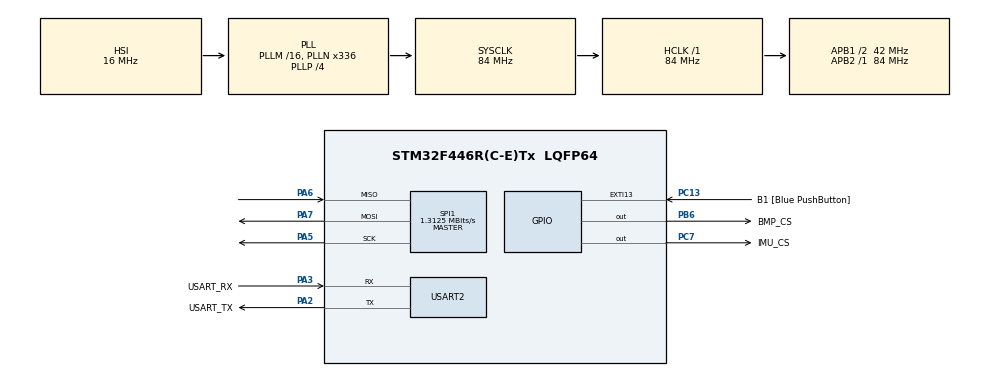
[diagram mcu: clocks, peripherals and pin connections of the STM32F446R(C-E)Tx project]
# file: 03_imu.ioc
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Mcu.Family=STM32F4
Mcu.Name=STM32F446R(C-E)Tx
Mcu.Package=LQFP64
NVIC.PriorityGroup=NVIC_PRIORITYGROUP_0
PA13.GPIO_Label=TMS
PA13.Mode=Serial_Wire
PA13.Signal=SYS_JTMS-SWDIO
PA14.GPIO_Label=TCK
PA14.Mode=Serial_Wire
PA14.Signal=SYS_JTCK-SWCLK
PA2.GPIO_Label=USART_TX
PA2.Mode=Asynchronous
PA2.Signal=USART2_TX
PA3.GPIO_Label=USART_RX
PA3.Mode=Asynchronous
PA3.Signal=USART2_RX
PA5.Mode=Full_Duplex_Master
PA5.Signal=SPI1_SCK
PA6.Mode=Full_Duplex_Master
PA6.Signal=SPI1_MISO
PA7.Mode=Full_Duplex_Master
PA7.Signal=SPI1_MOSI
PB3.GPIO_Label=SWO
PB3.Signal=SYS_JTDO-SWO
PB6.GPIO_Label=BMP_CS
PB6.Signal=GPIO_Output
PC13.GPIO_Label=B1 [Blue PushButton]
PC13.GPIO_ModeDefaultEXTI=GPIO_MODE_IT_FALLING
PC13.Signal=GPXTI13
PC14-OSC32_IN.Mode=LSE-External-Oscillator
PC14-OSC32_IN.Signal=RCC_OSC32_IN
PC15-OSC32_OUT.Mode=LSE-External-Oscillator
PC15-OSC32_OUT.Signal=RCC_OSC32_OUT
PC7.GPIO_Label=IMU_CS
PC7.Signal=GPIO_Output
PH0-OSC_IN.Mode=HSE-External-Oscillator
PH0-OSC_IN.Signal=RCC_OSC_IN
PH1-OSC_OUT.Mode=HSE-External-Oscillator
PH1-OSC_OUT.Signal=RCC_OSC_OUT
ProjectManager.HeapSize=0x200
ProjectManager.StackSize=0x400
ProjectManager.TargetToolchain=CMake
RCC.48MHZClocksFreq_Value=84000000
RCC.AHBFreq_Value=84000000
RCC.APB1CLKDivider=RCC_HCLK_DIV2
RCC.APB1Freq_Value=42000000
RCC.APB1TimFreq_Value=84000000
RCC.APB2Freq_Value=84000000
RCC.APB2TimFreq_Value=84000000
RCC.CortexFreq_Value=84000000
RCC.FLatency-AdvancedSettings=FLASH_LATENCY_2
RCC.HCLKFreq_Value=84000000
RCC.HSE_VALUE=8000000
RCC.HSI_VALUE=16000000
RCC.PLLN=336
RCC.PLLP=RCC_PLLP_DIV4
RCC.SYSCLKFreq_VALUE=84000000
RCC.SYSCLKSource=RCC_SYSCLKSOURCE_PLLCLK
RCC.USBFreq_Value=168000000
RCC.VCOOutputFreq_Value=336000000
SPI1.BaudRatePrescaler=SPI_BAUDRATEPRESCALER_64
SPI1.CLKPhase=SPI_PHASE_2EDGE
SPI1.CLKPolarity=SPI_POLARITY_HIGH
SPI1.CalculateBaudRate=1.3125 MBits/s
SPI1.Direction=SPI_DIRECTION_2LINES
SPI1.Mode=SPI_MODE_MASTER
SPI1.VirtualType=VM_MASTER
USART2.VirtualMode=VM_ASYNC
board=NUCLEO-F446RE

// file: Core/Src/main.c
/* USER CODE BEGIN Header */
/**
  ******************************************************************************
  * @file           : main.c
  * @brief          : Main program body
  ******************************************************************************
  * @attention
  *
  * Copyright (c) 2026 STMicroelectronics.
  * All rights reserved.
  *
  * This software is licensed under terms that can be found in the LICENSE file
  * in the root directory of this software component.
  * If no LICENSE file comes with this software, it is provided AS-IS.
  *
  ******************************************************************************
  */
/* USER CODE END Header */
#include "main.h"
#include "stm32f4xx_hal_conf.h"

/* USER CODE BEGIN Includes */
#include <stdio.h>
#include <math.h>
/* USER CODE END Includes */

/* USER CODE BEGIN PTD */
typedef struct {
  float w, x, y, z;
} Quaternion;
/* USER CODE END PTD */

/* USER CODE BEGIN PD */
#define ISM_WHO_AM_I  0x0F
#define ISM_CTRL1_XL  0x10 // Accelerometer Control: 0DR + full-scale
#define ISM_CTRL2_G   0x11 // Gyroscope Control: 0DR + full-scale
#define ISM_OUTX_L_G  0x22 // Gyroscope X-axis output, low byte (data block starts here)
#define ISM_OUTX_L_A  0x28 // Accelerometer X-axis output, low byte (data block starts here)
#define ACCEL_SENS_2G 0.061f // milli g's per count
#define GYRO_SENS_250DPS 8.75f // milli dps per count
#define GRAVITY 9.80665f // m/s^2
/* USER CODE END PD */

SPI_HandleTypeDef hspi1;

UART_HandleTypeDef huart2;

void SystemClock_Config(void);
static void MX_GPIO_Init(void);
static void MX_USART2_UART_Init(void);
static void MX_SPI1_Init(void);
/* USER CODE BEGIN PFP */
uint8_t IMU_ReadRegister(uint8_t reg);
void IMU_WriteRegister(uint8_t reg, uint8_t value);
void IMU_ReadRegisters(uint8_t reg, uint8_t *buffer, uint8_t len);

Quaternion quat_multiply(Quaternion a, Quaternion b);
Quaternion quat_conjugate(Quaternion q);
Quaternion quat_normalize(Quaternion q);
void quat_print(const char *label, Quaternion q);

Quaternion quat_integrate(Quaternion q, float wx, float wy, float wz, float dt); // integrate angular velocity into quaternion

void quat_rotate_vector(Quaternion q, float vx, float vy, float vz, float *rx, float *ry, float *rz);
/* USER CODE END PFP */

int main(void)
{

  /* MCU Configuration--------------------------------------------------------*/

  /* Reset of all peripherals, Initializes the Flash interface and the Systick. */
  HAL_Init();

  /* Configure the system clock */
  SystemClock_Config();

  /* Initialize all configured peripherals */
  MX_GPIO_Init();
  MX_USART2_UART_Init();
  MX_SPI1_Init();
  /* USER CODE BEGIN 2 */
  // CS rests HIGH (deselected). Overrides CubeMX's startup LOW
  HAL_GPIO_WritePin(IMU_CS_GPIO_Port, IMU_CS_Pin, GPIO_PIN_SET);

  uint8_t who_am_i = IMU_ReadRegister(ISM_WHO_AM_I);
  printf("ISM330DHCX IMU WHO_AM_I: 0x%02X (expected: 0x6B)\r\n", who_am_i);

  // Wake accelerometer: 104 Hz 0DR, +-2g
  IMU_WriteRegister(ISM_CTRL1_XL, 0x40);
  // Wake gyroscope: 104 Hz 0DR, +-250 dps
  IMU_WriteRegister(ISM_CTRL2_G, 0x40);

  // Read the control registers back to confirm the wake-up took
  printf("CTRL1_XL: 0x%02X (expected 0x40)\r\n", IMU_ReadRegister(ISM_CTRL1_XL));
  printf("CTRL2_G:  0x%02X (expected 0x40)\r\n", IMU_ReadRegister(ISM_CTRL2_G));

  //Primitive tests for quaternion functions
  printf("\r\n-- Quaternion primitive tests --\r\n");

  Quaternion identity = {1.0f, 0.0f, 0.0f, 0.0f};
  Quaternion q90z = {0.7071068f, 0.0f, 0.0f, 0.7071068f}; // 90 deg rotation about Z
  Quaternion q60x = {0.8660254f, 0.5f, 0.0f, 0.0f}; // 60 deg rotation about X

  // Test 1: anything times identity is unchnaged
  quat_print("T1 got: ", quat_multiply(q90z, identity));
  printf("T1 expected: w=0.7071  x=0.0000  y=0.0000  z=0.7071\r\n");

  // Test 2: 90 about Z twice is 180 about Z
  quat_print("T2 got: ", quat_multiply(q90z, q90z));
  printf("T2 expected: w=0.0000  x=0.0000  y=0.0000  z=1.0000\r\n");

  // Test 3: Rotate then unrotate is identity
  quat_print("T3 got: ", quat_multiply(q60x, quat_conjugate(q60x)));
  printf("T3 expected: w=1.0000  x=0.0000  y=0.0000  z=0.0000\r\n");

  // Test 4: normalize undoes scaling
  Quaternion scaled = {3.0f*0.7071068f, 0.0f, 0.0f, 3.0f*0.7071068f};
  quat_print("T4 got: ", quat_normalize(scaled));
  printf("T4 expected: w=0.7071  x=0.0000  y=0.0000  z=0.7071\r\n");

  printf("\r\n-- End Quaternion primitive tests --\r\n\r\n");

  /* USER CODE END 2 */

  /* Infinite loop */
  /* USER CODE BEGIN WHILE */
  uint8_t accel_buf[6];
  uint8_t gyro_buf[6];

  Quaternion q = {1.0f, 0.0f, 0.0f, 0.0f}; // start at identity (no rotation)
  float bx = 0.0f, by = 0.0f, bz = 0.0f; // estimated gyro bias (rad/s)
  const float DEG2RAD = 3.14159265358979323846f / 180.0f;

  const float Kp = 2.0f; // proportional gain for Mahoney filter (tubing knob)
  const float Ki = 0.01f; // integral gain
  const float TRUST_BAND = 0.10f;  // full trust within +/- this many g of 1.0
  const float TRUST_ZERO = 0.30f;  // zero trust beyond this many g from 1.0

  uint32_t last_tick = HAL_GetTick();

  while (1)
  {
    uint32_t now = HAL_GetTick();
    float dt = (now - last_tick) / 1000.0f; // convert ms to seconds
    last_tick = now;

    IMU_ReadRegisters(ISM_OUTX_L_G, gyro_buf, 6);
    IMU_ReadRegisters(ISM_OUTX_L_A, accel_buf, 6);

    int16_t ax = (int16_t)(accel_buf[1] << 8 | accel_buf[0]);
    int16_t ay = (int16_t)(accel_buf[3] << 8 | accel_buf[2]);
    int16_t az = (int16_t)(accel_buf[5] << 8 | accel_buf[4]);
    int16_t gx = (int16_t)(gyro_buf[1] << 8 | gyro_buf[0]);
    int16_t gy = (int16_t)(gyro_buf[3] << 8 | gyro_buf[2]);
    int16_t gz = (int16_t)(gyro_buf[5] << 8 | gyro_buf[4]);

    // raw -> dps -> rad/s
    float wx = gx * GYRO_SENS_250DPS / 1000.0f * DEG2RAD;
    float wy = gy * GYRO_SENS_250DPS / 1000.0f * DEG2RAD;
    float wz = gz * GYRO_SENS_250DPS / 1000.0f * DEG2RAD;

    // --- Step 2/3: accel correction ---
    // normalize the accelermoeter vector (we only care about DIRECTION)
    float an = sqrtf((float)ax*ax + (float)ay*ay + (float)az*az);
    float an_g = an * ACCEL_SENS_2G / 1000.0f;  // raw counts -> g

    float g_err = fabsf(an_g - 1.0f); //how far from pure gravity?

    // Trust factor
    float trust;
    if (g_err <= TRUST_BAND) {
      trust = 1.0f;
    } else if (g_err >= TRUST_ZERO) {
      trust = 0.0f;
    } else {
      trust = 1.0f - (g_err - TRUST_BAND) / (TRUST_ZERO - TRUST_BAND);
    }

    if (an > 1e-3f) {
      float max = ax / an, may = ay / an, maz = az / an; // measured gravity direction

      // predicted gravity in body frame = q* applied to world down (0,0,1)
      float px, py, pz;
      quat_rotate_vector(quat_conjugate(q), 0.0f, 0.0f, 1.0f, &px, &py, &pz);

      // error = measured x predicted (cross product)
      float ex = may*pz - maz*py;
      float ey = maz*px - max*pz;
      float ez = max*py - may*px;

      // Accumulate the error into bias
      bx += Ki * trust * ex * dt;
      by += Ki * trust * ey * dt;
      bz += Ki * trust * ez * dt;

      // anti-windup: real gyro bias is tiny (~a few dps). Cap it.
      const float BIAS_MAX = 0.05f;  // rad/s, ~3 dps
      if (bx > BIAS_MAX) bx = BIAS_MAX;
      if (bx < -BIAS_MAX) bx = -BIAS_MAX;
      if (by > BIAS_MAX) by = BIAS_MAX;
      if (by < -BIAS_MAX) by = -BIAS_MAX;
      if (bz > BIAS_MAX) bz = BIAS_MAX;
      if (bz < -BIAS_MAX) bz = -BIAS_MAX;

      // --- Step 4: feed error back into the gyro rate ---
      wx += Kp * trust * ex;
      wy += Kp * trust * ey;
      wz += Kp * trust * ez;
    }

    wx -= bx;
    wy -= by;
    wz -= bz;

    q = quat_integrate(q, wx, wy, wz, dt);

    //quat_print
    printf("q: %5.2f %5.2f %5.2f %5.2f | mag: %4.2fg | trust: %4.2f\r\n",
           q.w, q.x, q.y, q.z, an_g, trust);

    HAL_Delay(200); // 200 ms delay

    /* USER CODE END WHILE */

  }
}

void SystemClock_Config(void)
{
  RCC_OscInitTypeDef RCC_OscInitStruct = {0};
  RCC_ClkInitTypeDef RCC_ClkInitStruct = {0};

  /** Configure the main internal regulator output voltage
  */
  __HAL_RCC_PWR_CLK_ENABLE();
  __HAL_PWR_VOLTAGESCALING_CONFIG(PWR_REGULATOR_VOLTAGE_SCALE3);

  /** Initializes the RCC Oscillators according to the specified parameters
  * in the RCC_OscInitTypeDef structure.
  */
  RCC_OscInitStruct.OscillatorType = RCC_OSCILLATORTYPE_HSI;
  RCC_OscInitStruct.HSIState = RCC_HSI_ON;
  RCC_OscInitStruct.HSICalibrationValue = RCC_HSICALIBRATION_DEFAULT;
  RCC_OscInitStruct.PLL.PLLState = RCC_PLL_ON;
  RCC_OscInitStruct.PLL.PLLSource = RCC_PLLSOURCE_HSI;
  RCC_OscInitStruct.PLL.PLLM = 16;
  RCC_OscInitStruct.PLL.PLLN = 336;
  RCC_OscInitStruct.PLL.PLLP = RCC_PLLP_DIV4;
  RCC_OscInitStruct.PLL.PLLQ = 2;
  RCC_OscInitStruct.PLL.PLLR = 2;
  if (HAL_RCC_OscConfig(&RCC_OscInitStruct) != HAL_OK)
  {
    Error_Handler();
  }

  /** Initializes the CPU, AHB and APB buses clocks
  */
  RCC_ClkInitStruct.ClockType = RCC_CLOCKTYPE_HCLK|RCC_CLOCKTYPE_SYSCLK
                              |RCC_CLOCKTYPE_PCLK1|RCC_CLOCKTYPE_PCLK2;
  RCC_ClkInitStruct.SYSCLKSource = RCC_SYSCLKSOURCE_PLLCLK;
  RCC_ClkInitStruct.AHBCLKDivider = RCC_SYSCLK_DIV1;
  RCC_ClkInitStruct.APB1CLKDivider = RCC_HCLK_DIV2;
  RCC_ClkInitStruct.APB2CLKDivider = RCC_HCLK_DIV1;

  if (HAL_RCC_ClockConfig(&RCC_ClkInitStruct, FLASH_LATENCY_2) != HAL_OK)
  {
    Error_Handler();
  }
}

static void MX_SPI1_Init(void)
{

  /* SPI1 parameter configuration*/
  hspi1.Instance = SPI1;
  hspi1.Init.Mode = SPI_MODE_MASTER;
  hspi1.Init.Direction = SPI_DIRECTION_2LINES;
  hspi1.Init.DataSize = SPI_DATASIZE_8BIT;
  hspi1.Init.CLKPolarity = SPI_POLARITY_HIGH;
  hspi1.Init.CLKPhase = SPI_PHASE_2EDGE;
  hspi1.Init.NSS = SPI_NSS_SOFT;
  hspi1.Init.BaudRatePrescaler = SPI_BAUDRATEPRESCALER_64;
  hspi1.Init.FirstBit = SPI_FIRSTBIT_MSB;
  hspi1.Init.TIMode = SPI_TIMODE_DISABLE;
  hspi1.Init.CRCCalculation = SPI_CRCCALCULATION_DISABLE;
  hspi1.Init.CRCPolynomial = 10;
  if (HAL_SPI_Init(&hspi1) != HAL_OK)
  {
    Error_Handler();
  }

}

static void MX_USART2_UART_Init(void)
{

  huart2.Instance = USART2;
  huart2.Init.BaudRate = 115200;
  huart2.Init.WordLength = UART_WORDLENGTH_8B;
  huart2.Init.StopBits = UART_STOPBITS_1;
  huart2.Init.Parity = UART_PARITY_NONE;
  huart2.Init.Mode = UART_MODE_TX_RX;
  huart2.Init.HwFlowCtl = UART_HWCONTROL_NONE;
  huart2.Init.OverSampling = UART_OVERSAMPLING_16;
  if (HAL_UART_Init(&huart2) != HAL_OK)
  {
    Error_Handler();
  }

}

static void MX_GPIO_Init(void)
{
  GPIO_InitTypeDef GPIO_InitStruct = {0};

  /* GPIO Ports Clock Enable */
  __HAL_RCC_GPIOC_CLK_ENABLE();
  __HAL_RCC_GPIOH_CLK_ENABLE();
  __HAL_RCC_GPIOA_CLK_ENABLE();
  __HAL_RCC_GPIOB_CLK_ENABLE();

  /*Configure GPIO pin Output Level */
  HAL_GPIO_WritePin(IMU_CS_GPIO_Port, IMU_CS_Pin, GPIO_PIN_RESET);

  /*Configure GPIO pin Output Level */
  HAL_GPIO_WritePin(BMP_CS_GPIO_Port, BMP_CS_Pin, GPIO_PIN_RESET);

  /*Configure GPIO pin : B1_Pin */
  GPIO_InitStruct.Pin = B1_Pin;
  GPIO_InitStruct.Mode = GPIO_MODE_IT_FALLING;
  GPIO_InitStruct.Pull = GPIO_NOPULL;
  HAL_GPIO_Init(B1_GPIO_Port, &GPIO_InitStruct);

  /*Configure GPIO pin : IMU_CS_Pin */
  GPIO_InitStruct.Pin = IMU_CS_Pin;
  GPIO_InitStruct.Mode = GPIO_MODE_OUTPUT_PP;
  GPIO_InitStruct.Pull = GPIO_NOPULL;
  GPIO_InitStruct.Speed = GPIO_SPEED_FREQ_LOW;
  HAL_GPIO_Init(IMU_CS_GPIO_Port, &GPIO_InitStruct);

  /*Configure GPIO pin : BMP_CS_Pin */
  GPIO_InitStruct.Pin = BMP_CS_Pin;
  GPIO_InitStruct.Mode = GPIO_MODE_OUTPUT_PP;
  GPIO_InitStruct.Pull = GPIO_NOPULL;
  GPIO_InitStruct.Speed = GPIO_SPEED_FREQ_LOW;
  HAL_GPIO_Init(BMP_CS_GPIO_Port, &GPIO_InitStruct);

}

/* USER CODE BEGIN 4 */
int _write(int file, char *ptr, int len)
{
  HAL_UART_Transmit(&huart2, (uint8_t *)ptr, len, HAL_MAX_DELAY);
  return len;
}

uint8_t IMU_ReadRegister(uint8_t reg)
{
  uint8_t tx[2];
  uint8_t rx[2];

  tx[0] = reg | 0x80; // Address byte, bit 7 set = READ
  tx[1] = 0x00; // Dummy byte to clock the answer back

  HAL_GPIO_WritePin(IMU_CS_GPIO_Port, IMU_CS_Pin,  GPIO_PIN_RESET); // select
  HAL_SPI_TransmitReceive(&hspi1, tx, rx, 2, HAL_MAX_DELAY); // exchange 2 bytes
  HAL_GPIO_WritePin(IMU_CS_GPIO_Port, IMU_CS_Pin, GPIO_PIN_SET); // deselect

  return rx[1]; // The sensors answers landed in the second byte
}

void IMU_WriteRegister(uint8_t reg, uint8_t value)
{
  uint8_t tx[2];
  tx[0] = reg & 0x7F; // bit 7 = 0 -> Write
  tx[1] = value;

  HAL_GPIO_WritePin(IMU_CS_GPIO_Port, IMU_CS_Pin, GPIO_PIN_RESET); // select
  HAL_SPI_Transmit(&hspi1, tx, 2, HAL_MAX_DELAY);
  HAL_GPIO_WritePin(IMU_CS_GPIO_Port, IMU_CS_Pin, GPIO_PIN_SET); // deselect
}

void IMU_ReadRegisters(uint8_t reg, uint8_t *buffer, uint8_t len)
{
  uint8_t addr = reg | 0x80; // bit 7 = 1 -> Read

  HAL_GPIO_WritePin(IMU_CS_GPIO_Port, IMU_CS_Pin, GPIO_PIN_RESET); // select
  HAL_SPI_Transmit(&hspi1, &addr, 1, HAL_MAX_DELAY); // send address
  HAL_SPI_Receive(&hspi1, buffer, len, HAL_MAX_DELAY); // read data
  HAL_GPIO_WritePin(IMU_CS_GPIO_Port, IMU_CS_Pin, GPIO_PIN_SET); // deselect

}

// Quaternion Functions
// Compose two rotations: applies b first, then a.
// Order matters -- quaternion multiplication is not commutative.
Quaternion quat_multiply(Quaternion a, Quaternion b)
{
  Quaternion r;
  r.w = a.w*b.w - a.x*b.x - a.y*b.y - a.z*b.z;
  r.x = a.w*b.x + a.x*b.w + a.y*b.z - a.z*b.y;
  r.y = a.w*b.y - a.x*b.z + a.y*b.w + a.z*b.x;
  r.z = a.w*b.z + a.x*b.y - a.y*b.x + a.z*b.w;
  return r;
}

//Reverse the rotation: same axis, opposite direction.
Quaternion quat_conjugate(Quaternion q)
{
  Quaternion r = {q.w, -q.x, -q.y, -q.z};
  return r;
}

// Resscale to unit length. Re-imposes w^2+x^2+y^2+z^2=1.
Quaternion quat_normalize(Quaternion q)
{
  float n = sqrtf(q.w*q.w + q.x*q.x + q.y*q.y + q.z*q.z);
  if (n < 1e-6f) {
    Quaternion id = {1.0f, 0.0f, 0.0f, 0.0f};
    return id; // Return identity quaternion if input is too small
  }
  Quaternion r = {q.w/n, q.x/n, q.y/n, q.z/n};
  return r;
}

void quat_print(const char *label, Quaternion q)
{
  printf("%-12s w=%7.4f x=%7.4f y=%7.4f z=%7.4f\r\n", label, q.w, q.x, q.y, q.z);
}

//Integrate gyro rates (rad/s) into the orientation quaternion over dt seconds.
// q_new = q + (1/2)(q (x) (o,wx,wy,wz)) * dt, then normalize
Quaternion quat_integrate(Quaternion q, float wx, float wy, float wz, float dt)
{
  Quaternion omega = {0.0f, wx, wy, wz};    // gyro as a pure quaternion
  Quaternion qdot = quat_multiply(q, omega); // quaternion (x) (0, w)

  // scale by 1/2, then by dt, and add to q
  Quaternion q_new;
  q_new.w = q.w + 0.5f * qdot.w * dt;
  q_new.x = q.x + 0.5f * qdot.x * dt;
  q_new.y = q.y + 0.5f * qdot.y * dt;
  q_new.z = q.z + 0.5f * qdot.z * dt;

  return quat_normalize(q_new); // normalize to unit length
}

// Rotate vector v by quaternion q: v' = q (x) (0,v) (x) q*
// Pass q for body -> world, or pass q* for world -> body
void quat_rotate_vector(Quaternion q, float vx, float vy, float vz, float *rx, float *ry, float *rz)
{
  Quaternion v = {0.0f, vx, vy, vz};
  Quaternion qc = quat_conjugate(q);
  Quaternion tmp = quat_multiply(q, v);
  Quaternion res = quat_multiply(tmp, qc);
  *rx = res.x;
  *ry = res.y;
  *rz = res.z;
}

/* USER CODE END 4 */

void Error_Handler(void)
{
  __disable_irq();
  while (1)
  {
  }
}
